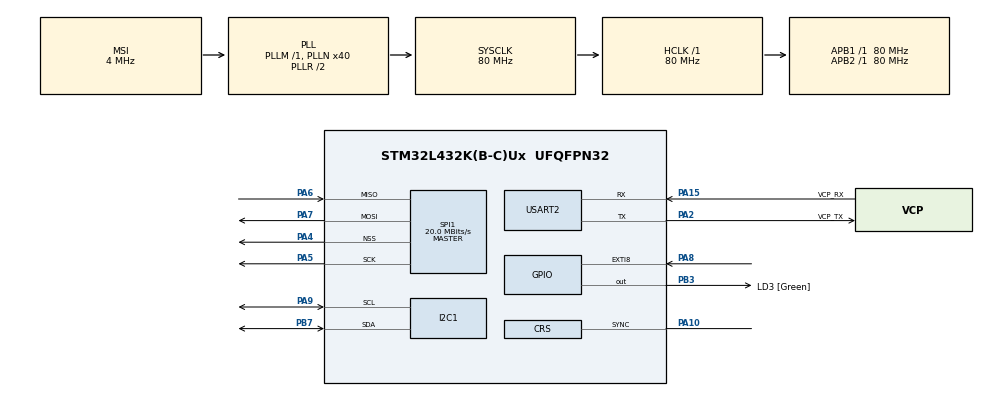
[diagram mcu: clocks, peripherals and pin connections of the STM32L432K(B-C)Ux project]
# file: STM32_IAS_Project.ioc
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Dma.I2C1_RX.4.Direction=DMA_PERIPH_TO_MEMORY
Dma.I2C1_RX.4.Instance=DMA2_Channel6
Dma.I2C1_RX.4.MemDataAlignment=DMA_MDATAALIGN_BYTE
Dma.I2C1_RX.4.MemInc=DMA_MINC_ENABLE
Dma.I2C1_RX.4.Mode=DMA_NORMAL
Dma.I2C1_RX.4.PeriphDataAlignment=DMA_PDATAALIGN_BYTE
Dma.I2C1_RX.4.PeriphInc=DMA_PINC_DISABLE
Dma.I2C1_RX.4.Priority=DMA_PRIORITY_LOW
Dma.I2C1_TX.5.Direction=DMA_MEMORY_TO_PERIPH
Dma.I2C1_TX.5.Instance=DMA2_Channel7
Dma.I2C1_TX.5.MemDataAlignment=DMA_MDATAALIGN_BYTE
Dma.I2C1_TX.5.MemInc=DMA_MINC_ENABLE
Dma.I2C1_TX.5.Mode=DMA_NORMAL
Dma.I2C1_TX.5.PeriphDataAlignment=DMA_PDATAALIGN_BYTE
Dma.I2C1_TX.5.PeriphInc=DMA_PINC_DISABLE
Dma.I2C1_TX.5.Priority=DMA_PRIORITY_LOW
Dma.Request0=USART2_RX
Dma.Request1=USART2_TX
Dma.Request2=SPI1_RX
Dma.Request3=SPI1_TX
Dma.Request4=I2C1_RX
Dma.Request5=I2C1_TX
Dma.SPI1_RX.2.Direction=DMA_PERIPH_TO_MEMORY
Dma.SPI1_RX.2.Instance=DMA1_Channel2
Dma.SPI1_RX.2.MemDataAlignment=DMA_MDATAALIGN_BYTE
Dma.SPI1_RX.2.MemInc=DMA_MINC_ENABLE
Dma.SPI1_RX.2.Mode=DMA_NORMAL
Dma.SPI1_RX.2.PeriphDataAlignment=DMA_PDATAALIGN_BYTE
Dma.SPI1_RX.2.PeriphInc=DMA_PINC_DISABLE
Dma.SPI1_RX.2.Priority=DMA_PRIORITY_LOW
Dma.SPI1_TX.3.Direction=DMA_MEMORY_TO_PERIPH
Dma.SPI1_TX.3.Instance=DMA1_Channel3
Dma.SPI1_TX.3.MemDataAlignment=DMA_MDATAALIGN_BYTE
Dma.SPI1_TX.3.MemInc=DMA_MINC_ENABLE
Dma.SPI1_TX.3.Mode=DMA_NORMAL
Dma.SPI1_TX.3.PeriphDataAlignment=DMA_PDATAALIGN_BYTE
Dma.SPI1_TX.3.PeriphInc=DMA_PINC_DISABLE
Dma.SPI1_TX.3.Priority=DMA_PRIORITY_LOW
Dma.USART2_RX.0.Direction=DMA_PERIPH_TO_MEMORY
Dma.USART2_RX.0.Instance=DMA1_Channel6
Dma.USART2_RX.0.MemDataAlignment=DMA_MDATAALIGN_BYTE
Dma.USART2_RX.0.MemInc=DMA_MINC_ENABLE
Dma.USART2_RX.0.Mode=DMA_NORMAL
Dma.USART2_RX.0.PeriphDataAlignment=DMA_PDATAALIGN_BYTE
Dma.USART2_RX.0.PeriphInc=DMA_PINC_DISABLE
Dma.USART2_RX.0.Priority=DMA_PRIORITY_HIGH
Dma.USART2_TX.1.Direction=DMA_MEMORY_TO_PERIPH
Dma.USART2_TX.1.Instance=DMA1_Channel7
Dma.USART2_TX.1.MemDataAlignment=DMA_MDATAALIGN_BYTE
Dma.USART2_TX.1.MemInc=DMA_MINC_ENABLE
Dma.USART2_TX.1.Mode=DMA_NORMAL
Dma.USART2_TX.1.PeriphDataAlignment=DMA_PDATAALIGN_BYTE
Dma.USART2_TX.1.PeriphInc=DMA_PINC_DISABLE
Dma.USART2_TX.1.Priority=DMA_PRIORITY_HIGH
I2C1.Timing=0x10909CEC
Mcu.Family=STM32L4
Mcu.Name=STM32L432K(B-C)Ux
Mcu.Package=UFQFPN32
NVIC.CRS_IRQn=true\:0\:0\:false\:false\:true\:true\:true
NVIC.DMA1_Channel2_IRQn=true\:0\:0\:false\:false\:true\:false\:true
NVIC.DMA1_Channel3_IRQn=true\:0\:0\:false\:false\:true\:false\:true
NVIC.DMA1_Channel6_IRQn=true\:0\:0\:false\:false\:true\:false\:true
NVIC.DMA1_Channel7_IRQn=true\:0\:0\:false\:false\:true\:false\:true
NVIC.DMA2_Channel6_IRQn=true\:0\:0\:false\:false\:true\:false\:true
NVIC.DMA2_Channel7_IRQn=true\:0\:0\:false\:false\:true\:false\:true
NVIC.EXTI9_5_IRQn=true\:0\:0\:false\:false\:true\:true\:true
NVIC.I2C1_ER_IRQn=true\:0\:0\:false\:false\:true\:true\:true
NVIC.I2C1_EV_IRQn=true\:0\:0\:false\:false\:true\:true\:true
NVIC.PriorityGroup=NVIC_PRIORITYGROUP_4
NVIC.RCC_IRQn=true\:0\:0\:false\:false\:true\:true\:false
NVIC.SPI1_IRQn=true\:0\:0\:false\:false\:true\:true\:true
NVIC.TIM1_BRK_TIM15_IRQn=true\:0\:0\:false\:false\:true\:true\:true
NVIC.TIM1_UP_TIM16_IRQn=true\:0\:0\:false\:false\:true\:true\:true
NVIC.TIM7_IRQn=true\:0\:0\:false\:false\:true\:true\:true
NVIC.USART2_IRQn=true\:0\:0\:false\:false\:true\:true\:true
PA0.GPIO_Label=MCO [High speed clock in]
PA0.Mode=HSE-External-Clock-Source-for-LittleOrca
PA0.Signal=RCC_CK_IN
PA10.Mode=CRS SYNC Source GPIO
PA10.Signal=CRS_SYNC
PA13\ (JTMS-SWDIO).GPIO_Label=SWDIO
PA13\ (JTMS-SWDIO).Mode=Serial_Wire
PA13\ (JTMS-SWDIO).Signal=SYS_JTMS-SWDIO
PA14\ (JTCK-SWCLK).GPIO_Label=SWCLK
PA14\ (JTCK-SWCLK).Mode=Serial_Wire
PA14\ (JTCK-SWCLK).Signal=SYS_JTCK-SWCLK
PA15\ (JTDI).GPIO_Label=VCP_RX
PA15\ (JTDI).Mode=Asynchronous
PA15\ (JTDI).Signal=USART2_RX
PA2.GPIO_Label=VCP_TX
PA2.Mode=Asynchronous
PA2.Signal=USART2_TX
PA4.Mode=NSS_Signal_Hard_Output
PA4.Signal=SPI1_NSS
PA5.Mode=Full_Duplex_Master
PA5.Signal=SPI1_SCK
PA6.Mode=Full_Duplex_Master
PA6.Signal=SPI1_MISO
PA7.Mode=Full_Duplex_Master
PA7.Signal=SPI1_MOSI
PA8.Signal=GPXTI8
PA9.Mode=I2C
PA9.Signal=I2C1_SCL
PB3\ (JTDO-TRACESWO).GPIO_Label=LD3 [Green]
PB3\ (JTDO-TRACESWO).Signal=GPIO_Output
PB7.Mode=I2C
PB7.Signal=I2C1_SDA
PC14-OSC32_IN\ (PC14).Mode=LSE-External-Oscillator
PC14-OSC32_IN\ (PC14).Signal=RCC_OSC32_IN
PC15-OSC32_OUT\ (PC15).Mode=LSE-External-Oscillator
PC15-OSC32_OUT\ (PC15).Signal=RCC_OSC32_OUT
ProjectManager.HeapSize=0x200
ProjectManager.StackSize=0x400
ProjectManager.TargetToolchain=STM32CubeIDE
RCC.ADCFreq_Value=16000000
RCC.AHBFreq_Value=80000000
RCC.APB1Freq_Value=80000000
RCC.APB1TimFreq_Value=80000000
RCC.APB2Freq_Value=80000000
RCC.APB2TimFreq_Value=80000000
RCC.CortexFreq_Value=80000000
RCC.EnableCSSLSE=true
RCC.HCLKFreq_Value=80000000
RCC.HSE_VALUE=8000000
RCC.HSI16_VALUE=16000000
RCC.HSI48_VALUE=48000000
RCC.HSI_VALUE=16000000
RCC.MSI_VALUE=4000000
RCC.PLLMUL=RCC_PLLMUL_4
RCC.PLLN=40
RCC.RTCClockSelection=RCC_RTCCLKSOURCE_LSE
RCC.SYSCLKFreq_VALUE=80000000
RCC.SYSCLKSource=RCC_SYSCLKSOURCE_PLLCLK
RCC.USBFreq_Value=16000000
RCC.VCOOutputFreq_Value=160000000
RTC.Date=18
RTC.Month=RTC_MONTH_MARCH
RTC.WeekDay=RTC_WEEKDAY_THURSDAY
SPI1.BaudRatePrescaler=SPI_BAUDRATEPRESCALER_4
SPI1.CalculateBaudRate=20.0 MBits/s
SPI1.DataSize=SPI_DATASIZE_8BIT
SPI1.Direction=SPI_DIRECTION_2LINES
SPI1.Mode=SPI_MODE_MASTER
SPI1.TIMode=SPI_TIMODE_DISABLE
SPI1.VirtualNSS=VM_NSSHARD
SPI1.VirtualType=VM_MASTER
USART2.VirtualMode-Asynchronous=VM_ASYNC
VP_RTC_VS_RTC_Activate.Mode=RTC_Enabled
VP_RTC_VS_RTC_Calendar.Mode=RTC_Calendar
VP_TIM15_VS_ClockSourceINT.Mode=Internal
VP_TIM16_VS_ClockSourceINT.Mode=Enable_Timer
VP_TIM7_VS_ClockSourceINT.Mode=Enable_Timer
board=NUCLEO-L432KC

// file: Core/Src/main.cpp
/* USER CODE BEGIN Header */
/**
  ******************************************************************************
  * @file           : main.c
  * @brief          : Main program body
  ******************************************************************************
  * @attention
  *
  * <h2><center>&copy; Copyright (c) 2021 STMicroelectronics.
  * All rights reserved.</center></h2>
  *
  * This software component is licensed by ST under BSD 3-Clause license,
  * the "License"; You may not use this file except in compliance with the
  * License. You may obtain a copy of the License at:
  *                        opensource.org/licenses/BSD-3-Clause
  *
  ******************************************************************************
  */
/* USER CODE END Header */
#include <main.hpp>
#include "dma.h"
#include "i2c.h"
#include "rtc.h"
#include "spi.h"
#include "tim.h"
#include "usart.h"
#include "gpio.h"

/* USER CODE BEGIN Includes */
#include <string.h>
#include <stdio.h>
#include "CCS811.hpp"

/* USER CODE END Includes */

void SystemClock_Config(void);
/* USER CODE BEGIN PFP */

/* Prototype for _write function in order to retarget semihosting */
#ifdef __cplusplus
extern "C"
#endif
int	_write(int file, char *ptr, int len);

void check_CCS811_Data(void);
/* USER CODE END PFP */

/* USER CODE BEGIN 0 */
CCS811 AirQualitySensor(&hi2c1);
void set_time (void);
/* USER CODE END 0 */

int main(void)
{

  /* MCU Configuration--------------------------------------------------------*/

  /* Reset of all peripherals, Initializes the Flash interface and the Systick. */
  HAL_Init();

  /* Configure the system clock */
  SystemClock_Config();

  /* Initialize all configured peripherals */
  MX_GPIO_Init();
  MX_DMA_Init();
  MX_USART2_UART_Init();
  MX_I2C1_Init();
  MX_RTC_Init();
  MX_SPI1_Init();
  MX_TIM7_Init();
  MX_TIM15_Init();
  MX_TIM16_Init();
  /* USER CODE BEGIN 2 */

  printf("Sistema iniciado... \r\n");
  set_time();
  AirQualitySensor.begin(CCS811_MODE_250mS | CCS811_MODE_INT_ENABLE);
  /* USER CODE END 2 */

  /* Infinite loop */
  /* USER CODE BEGIN WHILE */
  while (1)
  {
	  check_CCS811_Data();
    /* USER CODE END WHILE */

  }
}

void SystemClock_Config(void)
{
  RCC_OscInitTypeDef RCC_OscInitStruct = {0};
  RCC_ClkInitTypeDef RCC_ClkInitStruct = {0};
  RCC_PeriphCLKInitTypeDef PeriphClkInit = {0};
  RCC_CRSInitTypeDef RCC_CRSInitStruct = {0};

  /** Configure LSE Drive Capability
  */
  HAL_PWR_EnableBkUpAccess();
  __HAL_RCC_LSEDRIVE_CONFIG(RCC_LSEDRIVE_LOW);
  /** Initializes the RCC Oscillators according to the specified parameters
  * in the RCC_OscInitTypeDef structure.
  */
  RCC_OscInitStruct.OscillatorType = RCC_OSCILLATORTYPE_LSI|RCC_OSCILLATORTYPE_MSI;
  RCC_OscInitStruct.LSEState = RCC_LSE_OFF;
  RCC_OscInitStruct.LSIState = RCC_LSI_ON;
  RCC_OscInitStruct.MSIState = RCC_MSI_ON;
  RCC_OscInitStruct.MSICalibrationValue = 0;
  RCC_OscInitStruct.MSIClockRange = RCC_MSIRANGE_6;
  RCC_OscInitStruct.PLL.PLLState = RCC_PLL_ON;
  RCC_OscInitStruct.PLL.PLLSource = RCC_PLLSOURCE_MSI;
  RCC_OscInitStruct.PLL.PLLM = 1;
  RCC_OscInitStruct.PLL.PLLN = 40;
  RCC_OscInitStruct.PLL.PLLP = RCC_PLLP_DIV7;
  RCC_OscInitStruct.PLL.PLLQ = RCC_PLLQ_DIV2;
  RCC_OscInitStruct.PLL.PLLR = RCC_PLLR_DIV2;
  if (HAL_RCC_OscConfig(&RCC_OscInitStruct) != HAL_OK)
  {
    Error_Handler();
  }
  /** Initializes the CPU, AHB and APB buses clocks
  */
  RCC_ClkInitStruct.ClockType = RCC_CLOCKTYPE_HCLK|RCC_CLOCKTYPE_SYSCLK
                              |RCC_CLOCKTYPE_PCLK1|RCC_CLOCKTYPE_PCLK2;
  RCC_ClkInitStruct.SYSCLKSource = RCC_SYSCLKSOURCE_PLLCLK;
  RCC_ClkInitStruct.AHBCLKDivider = RCC_SYSCLK_DIV1;
  RCC_ClkInitStruct.APB1CLKDivider = RCC_HCLK_DIV1;
  RCC_ClkInitStruct.APB2CLKDivider = RCC_HCLK_DIV1;

  if (HAL_RCC_ClockConfig(&RCC_ClkInitStruct, FLASH_LATENCY_4) != HAL_OK)
  {
    Error_Handler();
  }
  PeriphClkInit.PeriphClockSelection = RCC_PERIPHCLK_RTC|RCC_PERIPHCLK_USART2
                              |RCC_PERIPHCLK_I2C1;
  PeriphClkInit.Usart2ClockSelection = RCC_USART2CLKSOURCE_PCLK1;
  PeriphClkInit.I2c1ClockSelection = RCC_I2C1CLKSOURCE_PCLK1;
  PeriphClkInit.RTCClockSelection = RCC_RTCCLKSOURCE_LSI;
  if (HAL_RCCEx_PeriphCLKConfig(&PeriphClkInit) != HAL_OK)
  {
    Error_Handler();
  }
  /** Enables the Clock Security System
  */
  HAL_RCCEx_EnableLSECSS();
  /** Configure the main internal regulator output voltage
  */
  if (HAL_PWREx_ControlVoltageScaling(PWR_REGULATOR_VOLTAGE_SCALE1) != HAL_OK)
  {
    Error_Handler();
  }
  /** Enable MSI Auto calibration
  */
  HAL_RCCEx_EnableMSIPLLMode();
  /** Enable the SYSCFG APB clock
  */
  __HAL_RCC_CRS_CLK_ENABLE();
  /** Configures CRS
  */
  RCC_CRSInitStruct.Prescaler = RCC_CRS_SYNC_DIV1;
  RCC_CRSInitStruct.Source = RCC_CRS_SYNC_SOURCE_GPIO;
  RCC_CRSInitStruct.Polarity = RCC_CRS_SYNC_POLARITY_RISING;
  RCC_CRSInitStruct.ReloadValue = __HAL_RCC_CRS_RELOADVALUE_CALCULATE(48000000,1);
  RCC_CRSInitStruct.ErrorLimitValue = 34;
  RCC_CRSInitStruct.HSI48CalibrationValue = 32;

  HAL_RCCEx_CRSConfig(&RCC_CRSInitStruct);
}

/* USER CODE BEGIN 4 */

/*  Semihosting C function for pritf usage */
int	_write(int file, char *ptr, int len)
{
	while(HAL_UART_GetState(&huart2) == HAL_UART_STATE_BUSY_TX);
	HAL_UART_Transmit_DMA(&huart2, (uint8_t *) ptr, len);
	return len;
}

/* Callback for EXTI interruption*/
void HAL_GPIO_EXTI_Callback(uint16_t GPIO_Pin)
{
	if(GPIO_Pin == GPIO_PIN_8)
	{
		AirQualitySensor.set_DataAvail_flag();
	}
}

/* Function to activate RTC backup and set initial time - NOTICE:
 * RTC DOES PRESSENT AN ABNORMAL BEHAVIOR WHEN
 * READING IF THIS FUNCTION IS NOT STANTIATED AND CALLED AT CODE */
void set_time (void)
{
  RTC_TimeTypeDef sTime;
  RTC_DateTypeDef sDate;
  sTime.Hours = 0x00; // set hours
  sTime.Minutes = 0x00; // set minutes
  sTime.Seconds = 0x00; // set seconds
  sTime.DayLightSaving = RTC_DAYLIGHTSAVING_NONE;
  sTime.StoreOperation = RTC_STOREOPERATION_RESET;
  if (HAL_RTC_SetTime(&hrtc, &sTime, RTC_FORMAT_BCD) != HAL_OK)
  {
	  //assert_failed(__FILE__, __LINE__);
  }
  sDate.WeekDay = RTC_WEEKDAY_WEDNESDAY; //  day
  sDate.Month = RTC_MONTH_MARCH; //  month
  sDate.Date = 0x31; // date
  sDate.Year = 0x21; // year
  if (HAL_RTC_SetDate(&hrtc, &sDate, RTC_FORMAT_BCD) != HAL_OK)
  {
	  //assert_failed(__FILE__, __LINE__);
  }
  HAL_RTCEx_BKUPWrite(&hrtc, RTC_BKP_DR1, 0x32F2); // backup register
}

void check_CCS811_Data(void)
{
	  if(AirQualitySensor.CheckDataAvail())
	  {
		  RTC_DateTypeDef gDate;
		  RTC_TimeTypeDef gTime;
		  /* Get the RTC current Time */
		   HAL_RTC_GetTime(&hrtc, &gTime, RTC_FORMAT_BIN);
		  /* Get the RTC current Date */
		   HAL_RTC_GetDate(&hrtc, &gDate, RTC_FORMAT_BIN);
		  /* Display time Format: hh:mm:ss */
		   uint16_t val = 1000*(1 - (float)(gTime.SubSeconds + 1) / (float)(gTime.SecondFraction));
		   printf("%02d:%02d:%02d.%03d - TVOC: %d | eCO2: %d \r\n",
				  gTime.Hours,
				  gTime.Minutes,
				  gTime.Seconds,
				  val,
				  AirQualitySensor.getTVOC(),
				  AirQualitySensor.getCO2());
		   AirQualitySensor.reset_DataAvail_flag();
	  }
}

/* USER CODE END 4 */

void Error_Handler(void)
{
  __disable_irq();
  while (1)
  {
  }
}

/************************ (C) COPYRIGHT STMicroelectronics *****END OF FILE****/
